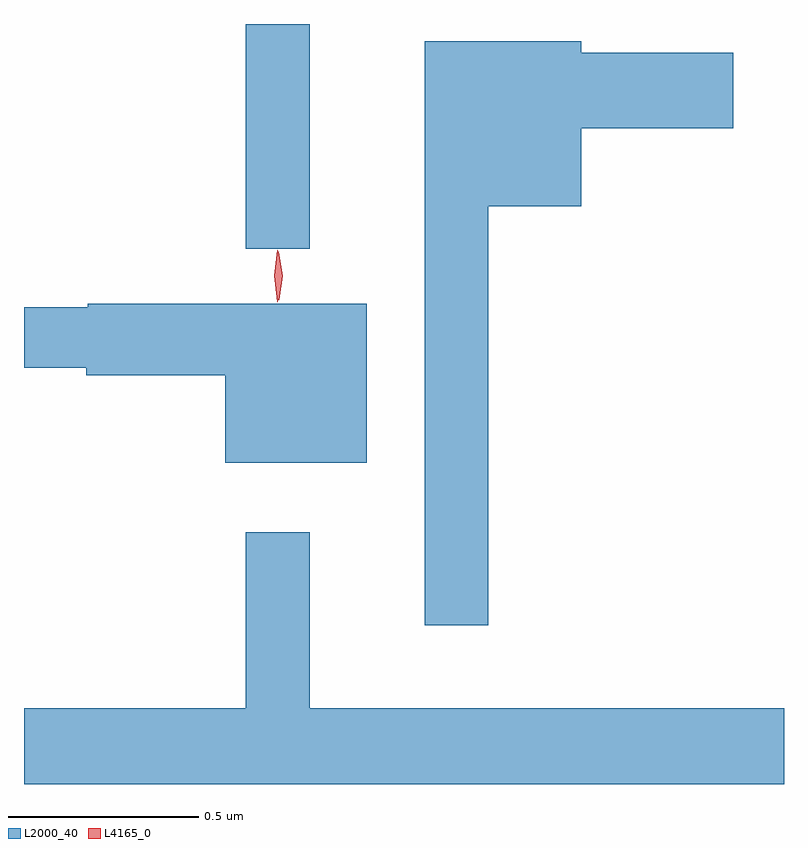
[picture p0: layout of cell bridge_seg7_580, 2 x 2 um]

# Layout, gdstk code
import gdstk
lib = gdstk.Library(unit=1e-6, precision=1e-09)
def R(c, l, rs):  # rectangles x0, y0, x1, y1
    for r in rs: c.add(gdstk.rectangle(r[:2], r[2:], *l))
def P(c, l, *ps):  # polygons
    for p in ps: c.add(gdstk.Polygon(p, *l))
L2000_40 = (2000, 40)
L4165_0 = (4165, 0)

bridge_seg7_580 = lib.new_cell('bridge_seg7_580')
R(bridge_seg7_580, L2000_40, [(977.181,1766.853,977.349,1767.445)])
P(bridge_seg7_580, L2000_40, [(977.819,1766.966),(978.064,1766.966),(978.064,1767.171),(978.464,1767.171),(978.464,1767.369),(978.064,1767.369),(978.064,1767.399),(977.651,1767.399),(977.651,1765.863),(977.819,1765.863)],
  [(977.499,1766.709),(976.765,1766.709),(976.765,1766.699),(976.597,1766.699),(976.597,1766.541),(976.761,1766.541),(976.761,1766.521),(977.126,1766.521),(977.126,1766.291),(977.499,1766.291)],
  [(978.597,1765.644),(977.349,1765.644),(977.349,1766.108),(977.181,1766.108),(977.181,1765.644),(976.597,1765.644),(976.597,1765.445),(978.597,1765.445)])
P(bridge_seg7_580, L4165_0, [(977.265,1766.713),(977.264,1766.714),(977.255,1766.782),(977.264,1766.849),(977.265,1766.85),(977.265,1766.849),(977.275,1766.782),(977.265,1766.714)],
  [(977.268,1766.718),(977.268,1766.719),(977.258,1766.783),(977.267,1766.846),(977.267,1766.847),(977.268,1766.846),(977.278,1766.783),(977.269,1766.719)])

lib.write_gds('bridge_seg7_580.gds')
